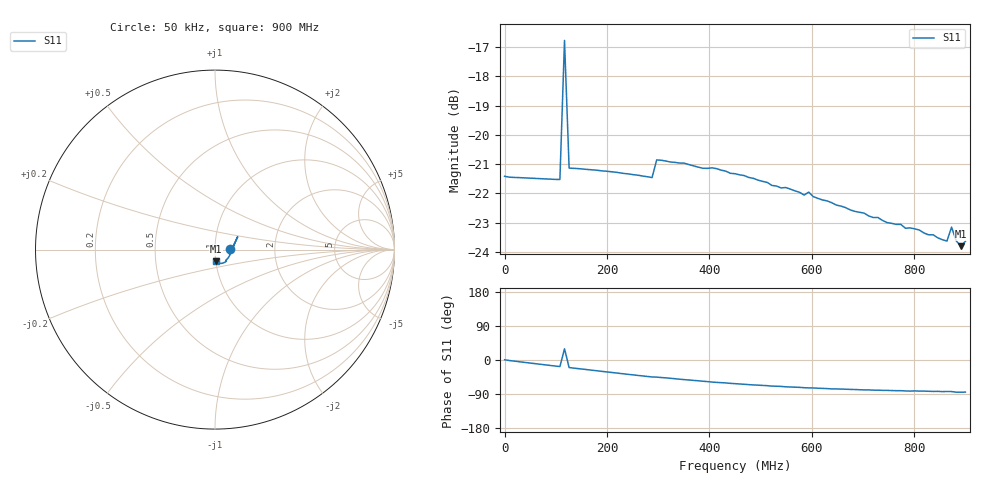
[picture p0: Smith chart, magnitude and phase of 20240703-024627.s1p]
# HZ S RI R 50
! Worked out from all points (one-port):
!   101 points, 50 kHz to 900 MHz, reference 50 ohm
!   lowest |S11| = -23.8 dB at 891 MHz (marker M1), VSWR 1.14, Z = 50.1 - j6.47 ohm
!   |S11| at or under -10 dB: start of sweep to end of sweep
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50000  0.0849 0.000894
1.08044e8  0.0801 -0.025
1.170435e8  0.1262 0.0715
1.26043e8  0.0824 -0.03
2.250375e8  0.0702 -0.0498
2.88034e8  0.06 -0.0595
2.970335e8  0.0639 -0.0642
3.42031e8  0.0567 -0.0692
3.870285e8  0.0491 -0.0726
4.14027e8  0.0449 -0.0751
4.50025e8  0.0397 -0.0761
5.670185e8  0.0252 -0.0761
5.850175e8  0.0229 -0.0755
5.94017e8  0.0225 -0.0765
6.030165e8  0.0219 -0.0753
6.750125e8  0.016 -0.0727
7.290095e8  0.013 -0.071
7.470085e8  0.0121 -0.0697
7.74007e8  0.011 -0.0694
7.830065e8  0.00999 -0.0685
7.92006e8  0.00966 -0.0686
8.28004e8  0.00879 -0.0669
8.370035e8  0.00828 -0.0669
8.64002e8  0.00799 -0.0653
8.730015e8  0.00817 -0.069
8.82001e8  0.00578 -0.0656
8.910005e8  0.00564 -0.0642
9e8  0.00597 -0.0655
